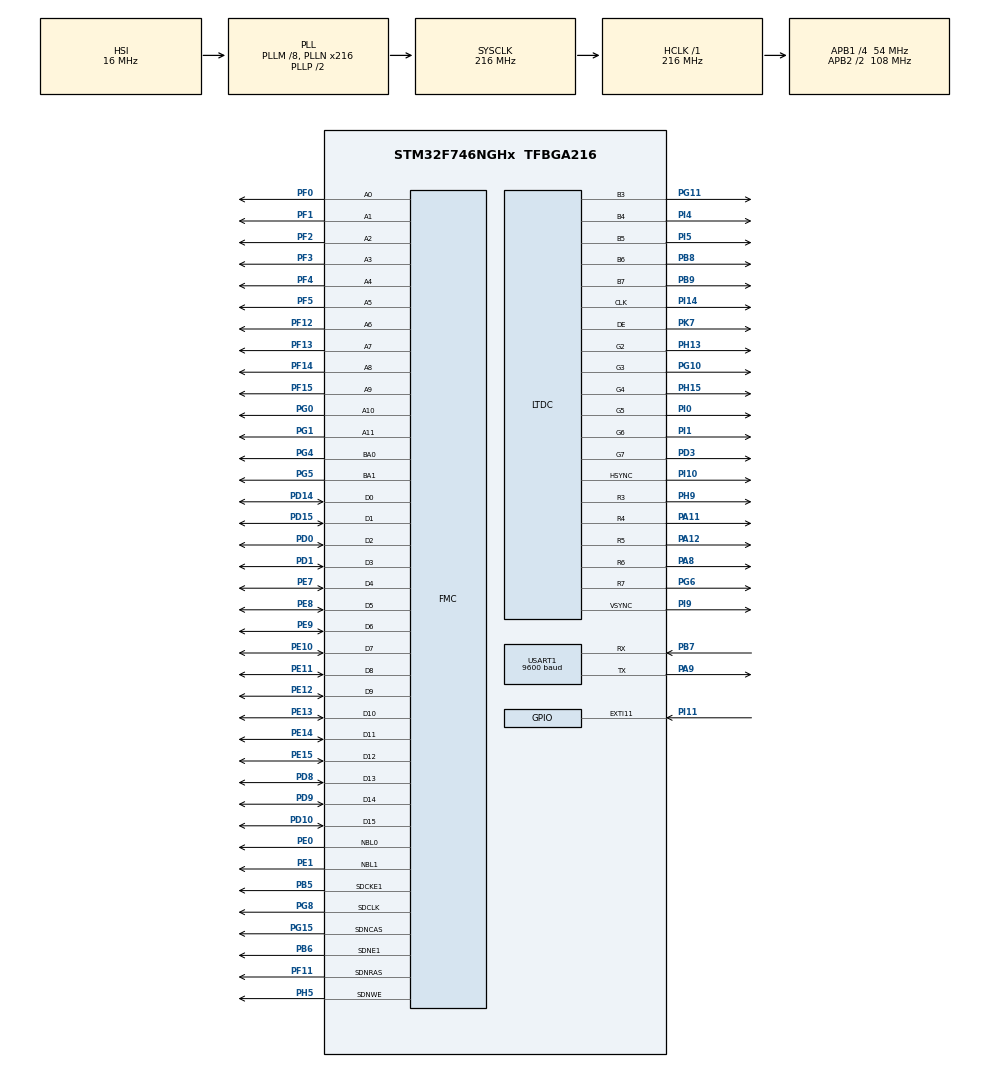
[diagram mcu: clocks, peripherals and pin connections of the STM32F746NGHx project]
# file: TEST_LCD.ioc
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CORTEX_M7.ART_ACCLERATOR_ENABLE=1
CORTEX_M7.CPU_DCache=Enabled
CORTEX_M7.CPU_ICache=Enabled
CORTEX_M7.PREFETCH_ENABLE=1
DMA2D.ColorMode=DMA2D_OUTPUT_RGB565
LTDC.ActiveH=272
LTDC.ActiveW=480
LTDC.PixelFormat_L0=LTDC_PIXEL_FORMAT_RGB565
LTDC.PixelFormat_L1=LTDC_PIXEL_FORMAT_RGB565
Mcu.Family=STM32F7
Mcu.Name=STM32F746NGHx
Mcu.Package=TFBGA216
NVIC.EXTI15_10_IRQn=true\:0\:0\:false\:false\:true\:true\:true
NVIC.PriorityGroup=NVIC_PRIORITYGROUP_4
PA11.GPIO_Speed=GPIO_SPEED_FREQ_HIGH
PA11.Mode=RGB565
PA11.Signal=LTDC_R4
PA12.GPIO_Speed=GPIO_SPEED_FREQ_HIGH
PA12.Mode=RGB565
PA12.Signal=LTDC_R5
PA13.Mode=Serial_Wire
PA13.Signal=SYS_JTMS-SWDIO
PA14.Mode=Serial_Wire
PA14.Signal=SYS_JTCK-SWCLK
PA8.GPIO_Speed=GPIO_SPEED_FREQ_HIGH
PA8.Mode=RGB565
PA8.Signal=LTDC_R6
PA9.Mode=Asynchronous
PA9.Signal=USART1_TX
PB5.Mode=SdramChipSelect2_1
PB5.Signal=FMC_SDCKE1
PB6.Mode=SdramChipSelect2_1
PB6.Signal=FMC_SDNE1
PB7.Mode=Asynchronous
PB7.Signal=USART1_RX
PB8.GPIO_Speed=GPIO_SPEED_FREQ_HIGH
PB8.Mode=RGB565
PB8.Signal=LTDC_B6
PB9.GPIO_Speed=GPIO_SPEED_FREQ_HIGH
PB9.Mode=RGB565
PB9.Signal=LTDC_B7
PD0.Signal=FMC_D2_DA2
PD1.Signal=FMC_D3_DA3
PD10.Signal=FMC_D15_DA15
PD14.Signal=FMC_D0_DA0
PD15.Signal=FMC_D1_DA1
PD3.GPIO_Speed=GPIO_SPEED_FREQ_HIGH
PD3.Mode=RGB565
PD3.Signal=LTDC_G7
PD8.Signal=FMC_D13_DA13
PD9.Signal=FMC_D14_DA14
PE0.Signal=FMC_NBL0
PE1.Signal=FMC_NBL1
PE10.Signal=FMC_D7_DA7
PE11.Signal=FMC_D8_DA8
PE12.Signal=FMC_D9_DA9
PE13.Signal=FMC_D10_DA10
PE14.Signal=FMC_D11_DA11
PE15.Signal=FMC_D12_DA12
PE7.Signal=FMC_D4_DA4
PE8.Signal=FMC_D5_DA5
PE9.Signal=FMC_D6_DA6
PF0.Signal=FMC_A0
PF1.Signal=FMC_A1
PF11.Signal=FMC_SDNRAS
PF12.Signal=FMC_A6
PF13.Signal=FMC_A7
PF14.Signal=FMC_A8
PF15.Signal=FMC_A9
PF2.Signal=FMC_A2
PF3.Signal=FMC_A3
PF4.Signal=FMC_A4
PF5.Signal=FMC_A5
PG0.Signal=FMC_A10
PG1.Signal=FMC_A11
PG10.GPIO_Speed=GPIO_SPEED_FREQ_HIGH
PG10.Mode=RGB565
PG10.Signal=LTDC_G3
PG11.GPIO_Speed=GPIO_SPEED_FREQ_HIGH
PG11.Mode=RGB565
PG11.Signal=LTDC_B3
PG15.Signal=FMC_SDNCAS
PG4.Signal=FMC_A14_BA0
PG5.Signal=FMC_A15_BA1
PG6.GPIO_Speed=GPIO_SPEED_FREQ_HIGH
PG6.Mode=RGB565
PG6.Signal=LTDC_R7
PG8.Signal=FMC_SDCLK
PH0/OSC_IN.Mode=HSE-External-Oscillator
PH0/OSC_IN.Signal=RCC_OSC_IN
PH1/OSC_OUT.Mode=HSE-External-Oscillator
PH1/OSC_OUT.Signal=RCC_OSC_OUT
PH13.GPIO_Speed=GPIO_SPEED_FREQ_HIGH
PH13.Mode=RGB565
PH13.Signal=LTDC_G2
PH15.GPIO_Speed=GPIO_SPEED_FREQ_HIGH
PH15.Mode=RGB565
PH15.Signal=LTDC_G4
PH5.Signal=FMC_SDNWE
PH9.GPIO_Speed=GPIO_SPEED_FREQ_HIGH
PH9.Mode=RGB565
PH9.Signal=LTDC_R3
PI0.GPIO_Speed=GPIO_SPEED_FREQ_HIGH
PI0.Mode=RGB565
PI0.Signal=LTDC_G5
PI1.GPIO_Speed=GPIO_SPEED_FREQ_HIGH
PI1.Mode=RGB565
PI1.Signal=LTDC_G6
PI10.GPIO_Speed=GPIO_SPEED_FREQ_HIGH
PI10.Mode=RGB565
PI10.Signal=LTDC_HSYNC
PI11.GPIO_ModeDefaultEXTI=GPIO_MODE_IT_RISING
PI11.Signal=GPXTI11
PI14.GPIO_Speed=GPIO_SPEED_FREQ_HIGH
PI14.Mode=RGB565
PI14.Signal=LTDC_CLK
PI4.GPIO_Speed=GPIO_SPEED_FREQ_HIGH
PI4.Mode=RGB565
PI4.Signal=LTDC_B4
PI5.GPIO_Speed=GPIO_SPEED_FREQ_HIGH
PI5.Mode=RGB565
PI5.Signal=LTDC_B5
PI9.GPIO_Speed=GPIO_SPEED_FREQ_HIGH
PI9.Mode=RGB565
PI9.Signal=LTDC_VSYNC
PK7.GPIO_Speed=GPIO_SPEED_FREQ_HIGH
PK7.Mode=RGB565
PK7.Signal=LTDC_DE
ProjectManager.HeapSize=0x200
ProjectManager.StackSize=0x400
ProjectManager.TargetToolchain=MDK-ARM V5
RCC.AHBFreq_Value=216000000
RCC.APB1CLKDivider=RCC_HCLK_DIV4
RCC.APB1Freq_Value=54000000
RCC.APB1TimFreq_Value=108000000
RCC.APB2CLKDivider=RCC_HCLK_DIV2
RCC.APB2Freq_Value=108000000
RCC.APB2TimFreq_Value=216000000
RCC.CortexFreq_Value=216000000
RCC.HCLKFreq_Value=216000000
RCC.HSE_VALUE=25000000
RCC.HSI_VALUE=16000000
RCC.LSE_VALUE=32768
RCC.PLLM=8
RCC.PLLN=216
RCC.PLLSAIN=50
RCC.PLLSourceVirtual=RCC_PLLSOURCE_HSI
RCC.SYSCLKFreq_VALUE=216000000
RCC.SYSCLKSource=RCC_SYSCLKSOURCE_PLLCLK
RCC.USBFreq_Value=216000000
RCC.VCOOutputFreq_Value=432000000
SH.FMC_A0.0=FMC_A0,12b-sda1
SH.FMC_A1.0=FMC_A1,12b-sda1
SH.FMC_A10.0=FMC_A10,12b-sda1
SH.FMC_A11.0=FMC_A11,12b-sda1
SH.FMC_A14_BA0.0=FMC_BA0,FourSdramBanks1
SH.FMC_A15_BA1.0=FMC_BA1,FourSdramBanks1
SH.FMC_A2.0=FMC_A2,12b-sda1
SH.FMC_A3.0=FMC_A3,12b-sda1
SH.FMC_A4.0=FMC_A4,12b-sda1
SH.FMC_A5.0=FMC_A5,12b-sda1
SH.FMC_A6.0=FMC_A6,12b-sda1
SH.FMC_A7.0=FMC_A7,12b-sda1
SH.FMC_A8.0=FMC_A8,12b-sda1
SH.FMC_A9.0=FMC_A9,12b-sda1
SH.FMC_D0_DA0.0=FMC_D0,sd-16b-d1
SH.FMC_D10_DA10.0=FMC_D10,sd-16b-d1
SH.FMC_D11_DA11.0=FMC_D11,sd-16b-d1
SH.FMC_D12_DA12.0=FMC_D12,sd-16b-d1
SH.FMC_D13_DA13.0=FMC_D13,sd-16b-d1
SH.FMC_D14_DA14.0=FMC_D14,sd-16b-d1
SH.FMC_D15_DA15.0=FMC_D15,sd-16b-d1
SH.FMC_D1_DA1.0=FMC_D1,sd-16b-d1
SH.FMC_D2_DA2.0=FMC_D2,sd-16b-d1
SH.FMC_D3_DA3.0=FMC_D3,sd-16b-d1
SH.FMC_D4_DA4.0=FMC_D4,sd-16b-d1
SH.FMC_D5_DA5.0=FMC_D5,sd-16b-d1
SH.FMC_D6_DA6.0=FMC_D6,sd-16b-d1
SH.FMC_D7_DA7.0=FMC_D7,sd-16b-d1
SH.FMC_D8_DA8.0=FMC_D8,sd-16b-d1
SH.FMC_D9_DA9.0=FMC_D9,sd-16b-d1
SH.FMC_NBL0.0=FMC_NBL0,Sd2ByteEnable1
SH.FMC_NBL1.0=FMC_NBL1,Sd2ByteEnable1
SH.FMC_SDCLK.0=FMC_SDCLK,12b-sda1
SH.FMC_SDNCAS.0=FMC_SDNCAS,12b-sda1
SH.FMC_SDNRAS.0=FMC_SDNRAS,12b-sda1
SH.FMC_SDNWE.0=FMC_SDNWE,12b-sda1
USART1.BaudRate=9600
USART1.VirtualMode-Asynchronous=VM_ASYNC
VP_DMA2D_VS_DMA2D.Mode=DMA2D_Activate
board=32F746GDISCOVERY

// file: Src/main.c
/**
  ******************************************************************************
  * @file           : main.c
  * @brief          : Main program body
  ******************************************************************************
  ** This notice applies to any and all portions of this file
  * that are not between comment pairs USER CODE BEGIN and
  * USER CODE END. Other portions of this file, whether
  * inserted by the user or by software development tools
  * are owned by their respective copyright owners.
  *
  * COPYRIGHT(c) 2019 STMicroelectronics
  *
  * Redistribution and use in source and binary forms, with or without modification,
  * are permitted provided that the following conditions are met:
  *   1. Redistributions of source code must retain the above copyright notice,
  *      this list of conditions and the following disclaimer.
  *   2. Redistributions in binary form must reproduce the above copyright notice,
  *      this list of conditions and the following disclaimer in the documentation
  *      and/or other materials provided with the distribution.
  *   3. Neither the name of STMicroelectronics nor the names of its contributors
  *      may be used to endorse or promote products derived from this software
  *      without specific prior written permission.
  *
  * THIS SOFTWARE IS PROVIDED BY THE COPYRIGHT HOLDERS AND CONTRIBUTORS "AS IS"
  * AND ANY EXPRESS OR IMPLIED WARRANTIES, INCLUDING, BUT NOT LIMITED TO, THE
  * IMPLIED WARRANTIES OF MERCHANTABILITY AND FITNESS FOR A PARTICULAR PURPOSE ARE
  * DISCLAIMED. IN NO EVENT SHALL THE COPYRIGHT HOLDER OR CONTRIBUTORS BE LIABLE
  * FOR ANY DIRECT, INDIRECT, INCIDENTAL, SPECIAL, EXEMPLARY, OR CONSEQUENTIAL
  * DAMAGES (INCLUDING, BUT NOT LIMITED TO, PROCUREMENT OF SUBSTITUTE GOODS OR
  * SERVICES; LOSS OF USE, DATA, OR PROFITS; OR BUSINESS INTERRUPTION) HOWEVER
  * CAUSED AND ON ANY THEORY OF LIABILITY, WHETHER IN CONTRACT, STRICT LIABILITY,
  * OR TORT (INCLUDING NEGLIGENCE OR OTHERWISE) ARISING IN ANY WAY OUT OF THE USE
  * OF THIS SOFTWARE, EVEN IF ADVISED OF THE POSSIBILITY OF SUCH DAMAGE.
  *
  ******************************************************************************
  */
#include "main.h"
#include <stdio.h>
#include "stm32f7xx_hal.h"
#include "stm32746g_discovery_lcd.h"

DMA2D_HandleTypeDef hdma2d;

LTDC_HandleTypeDef hltdc;

UART_HandleTypeDef huart1;

SDRAM_HandleTypeDef hsdram1;

/* USER CODE BEGIN PV */
/* Private variables ---------------------------------------------------------*/

/* USER CODE END PV */

void SystemClock_Config(void);
static void MX_GPIO_Init(void);
static void MX_DMA2D_Init(void);
static void MX_FMC_Init(void);
static void MX_LTDC_Init(void);
static void MX_USART1_UART_Init(void);

/* USER CODE BEGIN PFP */
/* Private function prototypes -----------------------------------------------*/
static void LCD_Config(void);
/* USER CODE END PFP */

/* USER CODE BEGIN 0 */
int Flag = 0;
/* USER CODE END 0 */

int main(void)
{

  /* Enable I-Cache-------------------------------------------------------------*/
  SCB_EnableICache();

  /* Enable D-Cache-------------------------------------------------------------*/
  SCB_EnableDCache();

  /* MCU Configuration----------------------------------------------------------*/

  /* Reset of all peripherals, Initializes the Flash interface and the Systick. */
  HAL_Init();

  /* Configure the system clock */
  SystemClock_Config();

  /* Initialize all configured peripherals */
  MX_GPIO_Init();
  MX_DMA2D_Init();
  MX_FMC_Init();
  MX_LTDC_Init();
  MX_USART1_UART_Init();
  /* USER CODE BEGIN 2 */
	LCD_Config();
	BSP_LCD_SetTextColor(LCD_COLOR_BLACK);
	BSP_LCD_DisplayStringAt(0,0,(uint8_t *)"LED FLASH = 0",LEFT_MODE);
	GPIO_InitTypeDef GPIO_InitStruct_OUTPUT_LED;
	GPIO_InitStruct_OUTPUT_LED.Pin = GPIO_PIN_1;
	GPIO_InitStruct_OUTPUT_LED.Mode = GPIO_MODE_OUTPUT_PP;
	GPIO_InitStruct_OUTPUT_LED.Pull = GPIO_NOPULL;
	HAL_GPIO_Init(GPIOI, &GPIO_InitStruct_OUTPUT_LED);
	HAL_GPIO_WritePin(GPIOI,GPIO_PIN_1,GPIO_PIN_RESET);
  /* USER CODE END 2 */

  /* Infinite loop */
  while (1)
  {
		if(Flag){

			HAL_GPIO_WritePin(GPIOI,GPIO_PIN_1,GPIO_PIN_RESET);
			HAL_Delay(500);
			HAL_GPIO_WritePin(GPIOI,GPIO_PIN_1,GPIO_PIN_SET);
			HAL_Delay(500);
		}
  }

}

void SystemClock_Config(void)
{

  RCC_OscInitTypeDef RCC_OscInitStruct;
  RCC_ClkInitTypeDef RCC_ClkInitStruct;
  RCC_PeriphCLKInitTypeDef PeriphClkInitStruct;

    /**Configure the main internal regulator output voltage
    */
  __HAL_RCC_PWR_CLK_ENABLE();

  __HAL_PWR_VOLTAGESCALING_CONFIG(PWR_REGULATOR_VOLTAGE_SCALE1);

    /**Initializes the CPU, AHB and APB busses clocks
    */
  RCC_OscInitStruct.OscillatorType = RCC_OSCILLATORTYPE_HSI;
  RCC_OscInitStruct.HSIState = RCC_HSI_ON;
  RCC_OscInitStruct.HSICalibrationValue = 16;
  RCC_OscInitStruct.PLL.PLLState = RCC_PLL_ON;
  RCC_OscInitStruct.PLL.PLLSource = RCC_PLLSOURCE_HSI;
  RCC_OscInitStruct.PLL.PLLM = 8;
  RCC_OscInitStruct.PLL.PLLN = 216;
  RCC_OscInitStruct.PLL.PLLP = RCC_PLLP_DIV2;
  RCC_OscInitStruct.PLL.PLLQ = 2;
  if (HAL_RCC_OscConfig(&RCC_OscInitStruct) != HAL_OK)
  {
    _Error_Handler(__FILE__, __LINE__);
  }

    /**Activate the Over-Drive mode
    */
  if (HAL_PWREx_EnableOverDrive() != HAL_OK)
  {
    _Error_Handler(__FILE__, __LINE__);
  }

    /**Initializes the CPU, AHB and APB busses clocks
    */
  RCC_ClkInitStruct.ClockType = RCC_CLOCKTYPE_HCLK|RCC_CLOCKTYPE_SYSCLK
                              |RCC_CLOCKTYPE_PCLK1|RCC_CLOCKTYPE_PCLK2;
  RCC_ClkInitStruct.SYSCLKSource = RCC_SYSCLKSOURCE_PLLCLK;
  RCC_ClkInitStruct.AHBCLKDivider = RCC_SYSCLK_DIV1;
  RCC_ClkInitStruct.APB1CLKDivider = RCC_HCLK_DIV4;
  RCC_ClkInitStruct.APB2CLKDivider = RCC_HCLK_DIV2;

  if (HAL_RCC_ClockConfig(&RCC_ClkInitStruct, FLASH_LATENCY_7) != HAL_OK)
  {
    _Error_Handler(__FILE__, __LINE__);
  }

  PeriphClkInitStruct.PeriphClockSelection = RCC_PERIPHCLK_LTDC|RCC_PERIPHCLK_USART1;
  PeriphClkInitStruct.PLLSAI.PLLSAIN = 50;
  PeriphClkInitStruct.PLLSAI.PLLSAIR = 2;
  PeriphClkInitStruct.PLLSAI.PLLSAIQ = 2;
  PeriphClkInitStruct.PLLSAI.PLLSAIP = RCC_PLLSAIP_DIV2;
  PeriphClkInitStruct.PLLSAIDivQ = 1;
  PeriphClkInitStruct.PLLSAIDivR = RCC_PLLSAIDIVR_2;
  PeriphClkInitStruct.Usart1ClockSelection = RCC_USART1CLKSOURCE_PCLK2;
  if (HAL_RCCEx_PeriphCLKConfig(&PeriphClkInitStruct) != HAL_OK)
  {
    _Error_Handler(__FILE__, __LINE__);
  }

    /**Configure the Systick interrupt time
    */
  HAL_SYSTICK_Config(HAL_RCC_GetHCLKFreq()/1000);

    /**Configure the Systick
    */
  HAL_SYSTICK_CLKSourceConfig(SYSTICK_CLKSOURCE_HCLK);

  /* SysTick_IRQn interrupt configuration */
  HAL_NVIC_SetPriority(SysTick_IRQn, 0, 0);
}

/* DMA2D init function */
static void MX_DMA2D_Init(void)
{

  hdma2d.Instance = DMA2D;
  hdma2d.Init.Mode = DMA2D_M2M;
  hdma2d.Init.ColorMode = DMA2D_OUTPUT_RGB565;
  hdma2d.Init.OutputOffset = 0;
  hdma2d.LayerCfg[1].InputOffset = 0;
  hdma2d.LayerCfg[1].InputColorMode = DMA2D_INPUT_RGB565;
  hdma2d.LayerCfg[1].AlphaMode = DMA2D_NO_MODIF_ALPHA;
  hdma2d.LayerCfg[1].InputAlpha = 0;
  if (HAL_DMA2D_Init(&hdma2d) != HAL_OK)
  {
    _Error_Handler(__FILE__, __LINE__);
  }

  if (HAL_DMA2D_ConfigLayer(&hdma2d, 1) != HAL_OK)
  {
    _Error_Handler(__FILE__, __LINE__);
  }

}

/* LTDC init function */
static void MX_LTDC_Init(void)
{

  LTDC_LayerCfgTypeDef pLayerCfg;
  LTDC_LayerCfgTypeDef pLayerCfg1;

  hltdc.Instance = LTDC;
  hltdc.Init.HSPolarity = LTDC_HSPOLARITY_AL;
  hltdc.Init.VSPolarity = LTDC_VSPOLARITY_AL;
  hltdc.Init.DEPolarity = LTDC_DEPOLARITY_AL;
  hltdc.Init.PCPolarity = LTDC_PCPOLARITY_IPC;
  hltdc.Init.HorizontalSync = 7;
  hltdc.Init.VerticalSync = 3;
  hltdc.Init.AccumulatedHBP = 14;
  hltdc.Init.AccumulatedVBP = 5;
  hltdc.Init.AccumulatedActiveW = 494;
  hltdc.Init.AccumulatedActiveH = 277;
  hltdc.Init.TotalWidth = 500;
  hltdc.Init.TotalHeigh = 279;
  hltdc.Init.Backcolor.Blue = 0;
  hltdc.Init.Backcolor.Green = 0;
  hltdc.Init.Backcolor.Red = 0;
  if (HAL_LTDC_Init(&hltdc) != HAL_OK)
  {
    _Error_Handler(__FILE__, __LINE__);
  }

  pLayerCfg.WindowX0 = 0;
  pLayerCfg.WindowX1 = 0;
  pLayerCfg.WindowY0 = 0;
  pLayerCfg.WindowY1 = 0;
  pLayerCfg.PixelFormat = LTDC_PIXEL_FORMAT_RGB565;
  pLayerCfg.Alpha = 0;
  pLayerCfg.Alpha0 = 0;
  pLayerCfg.BlendingFactor1 = LTDC_BLENDING_FACTOR1_CA;
  pLayerCfg.BlendingFactor2 = LTDC_BLENDING_FACTOR2_CA;
  pLayerCfg.FBStartAdress = 0;
  pLayerCfg.ImageWidth = 0;
  pLayerCfg.ImageHeight = 0;
  pLayerCfg.Backcolor.Blue = 0;
  pLayerCfg.Backcolor.Green = 0;
  pLayerCfg.Backcolor.Red = 0;
  if (HAL_LTDC_ConfigLayer(&hltdc, &pLayerCfg, 0) != HAL_OK)
  {
    _Error_Handler(__FILE__, __LINE__);
  }

  pLayerCfg1.WindowX0 = 0;
  pLayerCfg1.WindowX1 = 0;
  pLayerCfg1.WindowY0 = 0;
  pLayerCfg1.WindowY1 = 0;
  pLayerCfg1.PixelFormat = LTDC_PIXEL_FORMAT_RGB565;
  pLayerCfg1.Alpha = 0;
  pLayerCfg1.Alpha0 = 0;
  pLayerCfg1.BlendingFactor1 = LTDC_BLENDING_FACTOR1_CA;
  pLayerCfg1.BlendingFactor2 = LTDC_BLENDING_FACTOR2_CA;
  pLayerCfg1.FBStartAdress = 0;
  pLayerCfg1.ImageWidth = 0;
  pLayerCfg1.ImageHeight = 0;
  pLayerCfg1.Backcolor.Blue = 0;
  pLayerCfg1.Backcolor.Green = 0;
  pLayerCfg1.Backcolor.Red = 0;
  if (HAL_LTDC_ConfigLayer(&hltdc, &pLayerCfg1, 1) != HAL_OK)
  {
    _Error_Handler(__FILE__, __LINE__);
  }

}

/* USART1 init function */
static void MX_USART1_UART_Init(void)
{

  huart1.Instance = USART1;
  huart1.Init.BaudRate = 9600;
  huart1.Init.WordLength = UART_WORDLENGTH_8B;
  huart1.Init.StopBits = UART_STOPBITS_1;
  huart1.Init.Parity = UART_PARITY_NONE;
  huart1.Init.Mode = UART_MODE_TX_RX;
  huart1.Init.HwFlowCtl = UART_HWCONTROL_NONE;
  huart1.Init.OverSampling = UART_OVERSAMPLING_16;
  huart1.Init.OneBitSampling = UART_ONE_BIT_SAMPLE_DISABLE;
  huart1.AdvancedInit.AdvFeatureInit = UART_ADVFEATURE_NO_INIT;
  if (HAL_UART_Init(&huart1) != HAL_OK)
  {
    _Error_Handler(__FILE__, __LINE__);
  }

}

/* FMC initialization function */
static void MX_FMC_Init(void)
{
  FMC_SDRAM_TimingTypeDef SdramTiming;

  /** Perform the SDRAM1 memory initialization sequence
  */
  hsdram1.Instance = FMC_SDRAM_DEVICE;
  /* hsdram1.Init */
  hsdram1.Init.SDBank = FMC_SDRAM_BANK2;
  hsdram1.Init.ColumnBitsNumber = FMC_SDRAM_COLUMN_BITS_NUM_8;
  hsdram1.Init.RowBitsNumber = FMC_SDRAM_ROW_BITS_NUM_12;
  hsdram1.Init.MemoryDataWidth = FMC_SDRAM_MEM_BUS_WIDTH_16;
  hsdram1.Init.InternalBankNumber = FMC_SDRAM_INTERN_BANKS_NUM_4;
  hsdram1.Init.CASLatency = FMC_SDRAM_CAS_LATENCY_1;
  hsdram1.Init.WriteProtection = FMC_SDRAM_WRITE_PROTECTION_DISABLE;
  hsdram1.Init.SDClockPeriod = FMC_SDRAM_CLOCK_DISABLE;
  hsdram1.Init.ReadBurst = FMC_SDRAM_RBURST_DISABLE;
  hsdram1.Init.ReadPipeDelay = FMC_SDRAM_RPIPE_DELAY_0;
  /* SdramTiming */
  SdramTiming.LoadToActiveDelay = 16;
  SdramTiming.ExitSelfRefreshDelay = 16;
  SdramTiming.SelfRefreshTime = 16;
  SdramTiming.RowCycleDelay = 16;
  SdramTiming.WriteRecoveryTime = 16;
  SdramTiming.RPDelay = 16;
  SdramTiming.RCDDelay = 16;

  if (HAL_SDRAM_Init(&hsdram1, &SdramTiming) != HAL_OK)
  {
    _Error_Handler(__FILE__, __LINE__);
  }

}

/** Configure pins as
        * Analog
        * Input
        * Output
        * EVENT_OUT
        * EXTI
*/
static void MX_GPIO_Init(void)
{

  GPIO_InitTypeDef GPIO_InitStruct;

  /* GPIO Ports Clock Enable */
  __HAL_RCC_GPIOE_CLK_ENABLE();
  __HAL_RCC_GPIOB_CLK_ENABLE();
  __HAL_RCC_GPIOA_CLK_ENABLE();
  __HAL_RCC_GPIOG_CLK_ENABLE();
  __HAL_RCC_GPIOD_CLK_ENABLE();
  __HAL_RCC_GPIOI_CLK_ENABLE();
  __HAL_RCC_GPIOK_CLK_ENABLE();
  __HAL_RCC_GPIOF_CLK_ENABLE();
  __HAL_RCC_GPIOH_CLK_ENABLE();

  /*Configure GPIO pin : PI11 */
  GPIO_InitStruct.Pin = GPIO_PIN_11;
  GPIO_InitStruct.Mode = GPIO_MODE_IT_RISING;
  GPIO_InitStruct.Pull = GPIO_NOPULL;
  HAL_GPIO_Init(GPIOI, &GPIO_InitStruct);

  /* EXTI interrupt init*/
  HAL_NVIC_SetPriority(EXTI15_10_IRQn, 0, 0);
  HAL_NVIC_EnableIRQ(EXTI15_10_IRQn);

}

/* USER CODE BEGIN 4 */
void HAL_GPIO_EXTI_Callback(uint16_t GPIO_Pin)
{
  if(GPIO_Pin == GPIO_PIN_11)
  {
    Flag = ~Flag;
		if(Flag)
	{
		BSP_LCD_DisplayStringAt(0,0,(uint8_t *)"LED FLASH = 1",LEFT_MODE);
		printf("LED FLASH = 1\r\n");
	}
		else
	{
		BSP_LCD_DisplayStringAt(0,0,(uint8_t *)"LED FLASH = 0",LEFT_MODE);
		printf("LED FLASH = 0\r\n");
	}
		if(!Flag) HAL_GPIO_WritePin(GPIOI,GPIO_PIN_1,GPIO_PIN_RESET);
  }
}

static void LCD_Config(void)
{
  /* LCD Initialization */
  BSP_LCD_Init();

  /* LCD Initialization */
  BSP_LCD_LayerDefaultInit(0, LCD_FB_START_ADDRESS);
  BSP_LCD_LayerDefaultInit(1, LCD_FB_START_ADDRESS+(BSP_LCD_GetXSize()*BSP_LCD_GetYSize()*4));

  /* Enable the LCD */
  BSP_LCD_DisplayOn();

  /* Select the LCD Background Layer  */
  BSP_LCD_SelectLayer(0);

  /* Clear the Background Layer */
  BSP_LCD_Clear(LCD_COLOR_BLACK);

  /* Select the LCD Foreground Layer  */
  BSP_LCD_SelectLayer(1);

  /* Clear the Foreground Layer */
  BSP_LCD_Clear(LCD_COLOR_WHITE);

  /* Configure the transparency for foreground and background :
     Increase the transparency */
}
int fputc(int ch, FILE *f)
{
HAL_UART_Transmit(&huart1, (uint8_t *)&ch, 1, 0xFFFF);
return ch;
}
/* USER CODE END 4 */

void _Error_Handler(char *file, int line)
{
  while(1)
  {
  }
}

/************************ (C) COPYRIGHT STMicroelectronics *****END OF FILE****/
